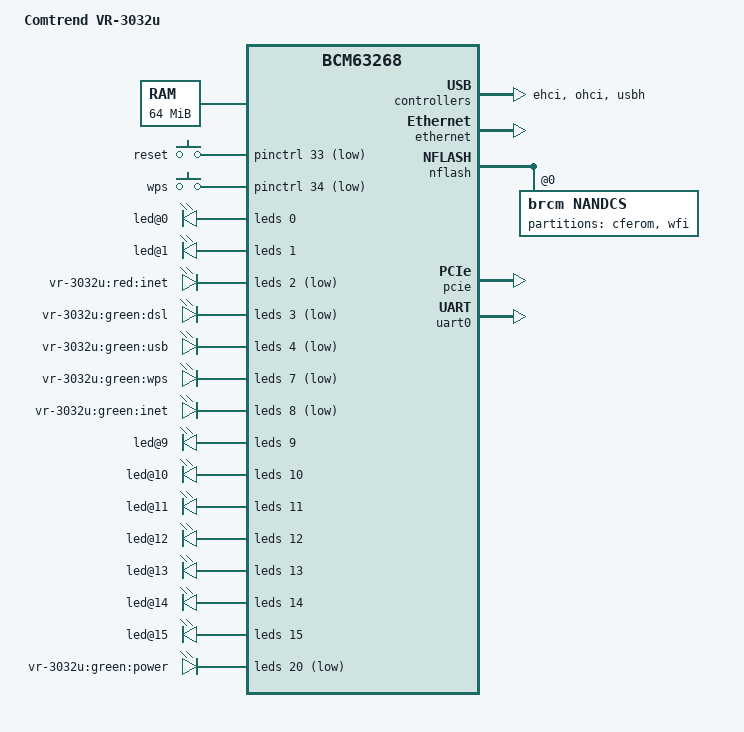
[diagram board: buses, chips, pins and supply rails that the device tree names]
// SPDX-License-Identifier: GPL-2.0-or-later

/dts-v1/;

#include "bcm63268.dtsi"

#include <dt-bindings/input/input.h>

/ {
	model = "Comtrend VR-3032u";
	compatible = "comtrend,vr-3032u", "brcm,bcm63168", "brcm,bcm63268";

	aliases {
		led-boot = &led_power_green;
		led-failsafe = &led_power_green;
		led-running = &led_power_green;
		led-upgrade = &led_power_green;
		led-usb = &led_usb_green;
	};

	chosen {
		bootargs = "console=ttyS0,115200 earlycon";
	};

	memory@0 {
		device_type = "memory";
		reg = <0x00000000 0x04000000>;
	};

	keys {
		compatible = "gpio-keys-polled";
		#address-cells = <1>;
		#size-cells = <0>;
		poll-interval = <20>;

		reset {
			label = "reset";
			gpios = <&pinctrl 33 1>;
			linux,code = <KEY_RESTART>;
			debounce-interval = <60>;
		};

		wps {
			label = "wps";
			gpios = <&pinctrl 34 1>;
			linux,code = <KEY_WPS_BUTTON>;
			debounce-interval = <60>;
		};
	};
};

&ehci {
	status = "okay";
};

&ethernet {
	status = "okay";

	mtd-mac-address = <&cferom 0x6a0>;

	ports {
		#address-cells = <1>;
		#size-cells = <0>;

		port@0 {
			reg = <0>;
			label = "fe1";
			brcm,phy-id = <1>;
		};

		port@1 {
			reg = <1>;
			label = "fe2";
			brcm,phy-id = <2>;
		};

		port@2 {
			reg = <2>;
			label = "fe3";
			brcm,phy-id = <3>;
		};

		port@3 {
			reg = <3>;
			label = "fe4";
			brcm,phy-id = <4>;
		};
	};
};

&leds {
	status = "okay";
	brcm,serial-leds;
	brcm,serial-dat-low;
	brcm,serial-shift-inv;

	pinctrl-names = "default";
	pinctrl-0 = <&pinctrl_serial_led>;

	led@0 {
		/* GPHY0 Spd 0 */
		reg = <0>;
		brcm,hardware-controlled;
		brcm,link-signal-sources = <0>;
	};

	led@1 {
		/* GPHY0 Spd 1 */
		reg = <1>;
		brcm,hardware-controlled;
		brcm,link-signal-sources = <1>;
	};

	led@2 {
		reg = <2>;
		active-low;
		label = "vr-3032u:red:inet";
	};

	led@3 {
		reg = <3>;
		active-low;
		label = "vr-3032u:green:dsl";
	};

	led_usb_green: led@4 {
		reg = <4>;
		active-low;
		label = "vr-3032u:green:usb";
	};

	led@7 {
		reg = <7>;
		active-low;
		label = "vr-3032u:green:wps";
	};

	led@8 {
		reg = <8>;
		active-low;
		label = "vr-3032u:green:inet";
	};

	led@9 {
		/* EPHY0 Act */
		reg = <9>;
		brcm,hardware-controlled;
	};

	led@10 {
		/* EPHY1 Act */
		reg = <10>;
		brcm,hardware-controlled;
	};

	led@11 {
		/* EPHY2 Act */
		reg = <11>;
		brcm,hardware-controlled;
	};

	led@12 {
		/* GPHY0 Act */
		reg = <12>;
		brcm,hardware-controlled;
	};

	led@13 {
		/* EPHY0 Spd */
		reg = <13>;
		brcm,hardware-controlled;
	};

	led@14 {
		/* EPHY1 Spd */
		reg = <14>;
		brcm,hardware-controlled;
	};

	led@15 {
		/* EPHY2 Spd */
		reg = <15>;
		brcm,hardware-controlled;
	};

	led_power_green: led@20 {
		reg = <20>;
		active-low;
		label = "vr-3032u:green:power";
		default-state = "on";
	};
};

&nflash {
	status = "okay";

	nandcs@0 {
		compatible = "brcm,nandcs";
		#size-cells = <1>;
		#address-cells = <1>;
		reg = <0>;
		nand-ecc-step-size = <512>;
		nand-ecc-strength = <15>;
		nand-on-flash-bbt;
		brcm,nand-oob-sector-size = <64>;

		partitions {
			compatible = "fixed-partitions";
			#address-cells = <1>;
			#size-cells = <1>;

			cferom: partition@0 {
				label = "cferom";
				reg = <0x0000000 0x0020000>;
				read-only;
			};

			partition@20000 {
				compatible = "brcm,wfi-split";
				label = "wfi";
				reg = <0x0020000 0x7ac0000>;
			};
		};
	};
};

&ohci {
	status = "okay";
};

&pcie {
	status = "okay";
};

&uart0 {
	status = "okay";
};

&usbh {
	status = "okay";
};
